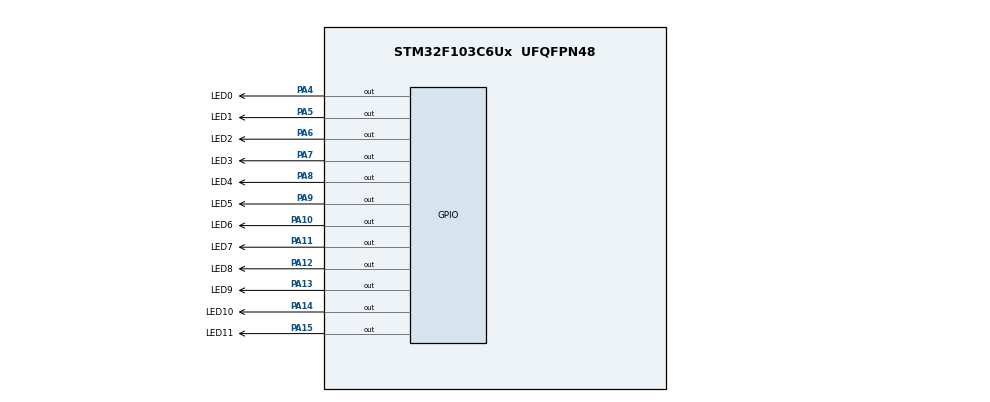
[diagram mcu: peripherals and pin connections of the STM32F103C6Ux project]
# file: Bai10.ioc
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Mcu.Family=STM32F1
Mcu.Name=STM32F103C6Ux
Mcu.Package=UFQFPN48
NVIC.PriorityGroup=NVIC_PRIORITYGROUP_4
PA10.GPIO_Label=LED6
PA10.Signal=GPIO_Output
PA11.GPIO_Label=LED7
PA11.Signal=GPIO_Output
PA12.GPIO_Label=LED8
PA12.Signal=GPIO_Output
PA13.GPIO_Label=LED9
PA13.Signal=GPIO_Output
PA14.GPIO_Label=LED10
PA14.Signal=GPIO_Output
PA15.GPIO_Label=LED11
PA15.Signal=GPIO_Output
PA4.GPIO_Label=LED0
PA4.Signal=GPIO_Output
PA5.GPIO_Label=LED1
PA5.Signal=GPIO_Output
PA6.GPIO_Label=LED2
PA6.Signal=GPIO_Output
PA7.GPIO_Label=LED3
PA7.Signal=GPIO_Output
PA8.GPIO_Label=LED4
PA8.Signal=GPIO_Output
PA9.GPIO_Label=LED5
PA9.Signal=GPIO_Output
ProjectManager.HeapSize=0x200
ProjectManager.StackSize=0x400
ProjectManager.TargetToolchain=STM32CubeIDE
RCC.APB1Freq_Value=8000000
RCC.APB2Freq_Value=8000000
VP_SYS_VS_ND.Mode=No_Debug
board=custom

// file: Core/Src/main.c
/* USER CODE BEGIN Header */
/**
 ******************************************************************************
 * @file           : main.c
 * @brief          : Main program body
 ******************************************************************************
 * @attention
 *
 * <h2><center>&copy; Copyright (c) 2022 STMicroelectronics.
 * All rights reserved.</center></h2>
 *
 * This software component is licensed by ST under BSD 3-Clause license,
 * the "License"; You may not use this file except in compliance with the
 * License. You may obtain a copy of the License at:
 *                        opensource.org/licenses/BSD-3-Clause
 *
 ******************************************************************************
 */
/* USER CODE END Header */
#include "main.h"

void SystemClock_Config(void);
static void MX_GPIO_Init(void);

void clearAllClock();
void setNumberOnClock(int num);
void clearNumberOnClock(int num);

/* USER CODE BEGIN 0 */
void clearAllClock() {
	HAL_GPIO_WritePin(LED0_GPIO_Port, LED0_Pin, RESET);
	HAL_GPIO_WritePin(LED1_GPIO_Port, LED1_Pin, RESET);
	HAL_GPIO_WritePin(LED2_GPIO_Port, LED2_Pin, RESET);
	HAL_GPIO_WritePin(LED3_GPIO_Port, LED3_Pin, RESET);
	HAL_GPIO_WritePin(LED4_GPIO_Port, LED4_Pin, RESET);
	HAL_GPIO_WritePin(LED5_GPIO_Port, LED5_Pin, RESET);
	HAL_GPIO_WritePin(LED6_GPIO_Port, LED6_Pin, RESET);
	HAL_GPIO_WritePin(LED7_GPIO_Port, LED7_Pin, RESET);
	HAL_GPIO_WritePin(LED8_GPIO_Port, LED8_Pin, RESET);
	HAL_GPIO_WritePin(LED9_GPIO_Port, LED9_Pin, RESET);
	HAL_GPIO_WritePin(LED10_GPIO_Port, LED10_Pin, RESET);
	HAL_GPIO_WritePin(LED11_GPIO_Port, LED11_Pin, RESET);
}

void setNumberOnClock(int num) {
	if (num == 0) {
		HAL_GPIO_WritePin(LED0_GPIO_Port, LED0_Pin, SET);
	}
	if (num == 1) {
		HAL_GPIO_WritePin(LED1_GPIO_Port, LED1_Pin, SET);
	}
	if (num == 2) {
		HAL_GPIO_WritePin(LED2_GPIO_Port, LED2_Pin, SET);
	}
	if (num == 3) {
		HAL_GPIO_WritePin(LED3_GPIO_Port, LED3_Pin, SET);
	}
	if (num == 4) {
		HAL_GPIO_WritePin(LED4_GPIO_Port, LED4_Pin, SET);
	}
	if (num == 5) {
		HAL_GPIO_WritePin(LED5_GPIO_Port, LED5_Pin, SET);
	}
	if (num == 6) {
		HAL_GPIO_WritePin(LED6_GPIO_Port, LED6_Pin, SET);
	}
	if (num == 7) {
		HAL_GPIO_WritePin(LED7_GPIO_Port, LED7_Pin, SET);
	}
	if (num == 8) {
		HAL_GPIO_WritePin(LED8_GPIO_Port, LED8_Pin, SET);
	}
	if (num == 9) {
		HAL_GPIO_WritePin(LED9_GPIO_Port, LED9_Pin, SET);
	}
	if (num == 10) {
		HAL_GPIO_WritePin(LED10_GPIO_Port, LED10_Pin, SET);
	}
	if (num == 11) {
		HAL_GPIO_WritePin(LED11_GPIO_Port, LED11_Pin, SET);
	}
}

void clearNumberOnClock(int num) {
	if (num == 0) {
		HAL_GPIO_WritePin(LED0_GPIO_Port, LED0_Pin, RESET);
	}
	if (num == 1) {
		HAL_GPIO_WritePin(LED1_GPIO_Port, LED1_Pin, RESET);
	}
	if (num == 2) {
		HAL_GPIO_WritePin(LED2_GPIO_Port, LED2_Pin, RESET);
	}
	if (num == 3) {
		HAL_GPIO_WritePin(LED3_GPIO_Port, LED3_Pin, RESET);
	}
	if (num == 4) {
		HAL_GPIO_WritePin(LED4_GPIO_Port, LED4_Pin, RESET);
	}
	if (num == 5) {
		HAL_GPIO_WritePin(LED5_GPIO_Port, LED5_Pin, RESET);
	}
	if (num == 6) {
		HAL_GPIO_WritePin(LED6_GPIO_Port, LED6_Pin, RESET);
	}
	if (num == 7) {
		HAL_GPIO_WritePin(LED7_GPIO_Port, LED7_Pin, RESET);
	}
	if (num == 8) {
		HAL_GPIO_WritePin(LED8_GPIO_Port, LED8_Pin, RESET);
	}
	if (num == 9) {
		HAL_GPIO_WritePin(LED9_GPIO_Port, LED9_Pin, RESET);
	}
	if (num == 10) {
		HAL_GPIO_WritePin(LED10_GPIO_Port, LED10_Pin, RESET);
	}
	if (num == 11) {
		HAL_GPIO_WritePin(LED11_GPIO_Port, LED11_Pin, RESET);
	}
}
/* USER CODE END 0 */

int main(void) {

	/* MCU Configuration--------------------------------------------------------*/

	/* Reset of all peripherals, Initializes the Flash interface and the Systick. */
	HAL_Init();

	/* Configure the system clock */
	SystemClock_Config();

	/* Initialize all configured peripherals */
	MX_GPIO_Init();

	/* Infinite loop */
	/* USER CODE BEGIN WHILE */

	int indexOfHourLed = 0;
	int indexOfMinuteLed = 0;
	int indexOfSecondLed = 0;
	int hourCounter = 0;
	int minuteCounter = 0;
	int secondCounter = 0;
	while (1) {
		//Set led for minutes (indexOfMinuteLed)
		if (minuteCounter >= 0 && minuteCounter <= 4) {
			indexOfMinuteLed = 0;
		}
		if (minuteCounter >= 5 && minuteCounter <= 9) {
			indexOfMinuteLed = 1;
		}
		if (minuteCounter >= 10 && minuteCounter <= 14) {
			indexOfMinuteLed = 2;
		}
		if (minuteCounter >= 15 && minuteCounter <= 19) {
			indexOfMinuteLed = 3;
		}
		if (minuteCounter >= 20 && minuteCounter <= 24) {
			indexOfMinuteLed = 4;
		}
		if (minuteCounter >= 25 && minuteCounter <= 29) {
			indexOfMinuteLed = 5;
		}
		if (minuteCounter >= 30 && minuteCounter <= 34) {
			indexOfMinuteLed = 6;
		}
		if (minuteCounter >= 35 && minuteCounter <= 39) {
			indexOfMinuteLed = 7;
		}
		if (minuteCounter >= 40 && minuteCounter <= 44) {
			indexOfMinuteLed = 8;
		}
		if (minuteCounter >= 45 && minuteCounter <= 49) {
			indexOfMinuteLed = 9;
		}
		if (minuteCounter >= 50 && minuteCounter <= 54) {
			indexOfMinuteLed = 10;
		}
		if (minuteCounter >= 55 && minuteCounter <= 59) {
			indexOfMinuteLed = 11;
		}

		//Set led for seconds (indexOfSecondLed)
		if (secondCounter >= 0 && secondCounter <= 4) {
			indexOfSecondLed = 0;
		}
		if (secondCounter >= 5 && secondCounter <= 9) {
			indexOfSecondLed = 1;
		}
		if (secondCounter >= 10 && secondCounter <= 14) {
			indexOfSecondLed = 2;
		}
		if (secondCounter >= 15 && secondCounter <= 19) {
			indexOfSecondLed = 3;
		}
		if (secondCounter >= 20 && secondCounter <= 24) {
			indexOfSecondLed = 4;
		}
		if (secondCounter >= 25 && secondCounter <= 29) {
			indexOfSecondLed = 5;
		}
		if (secondCounter >= 30 && secondCounter <= 34) {
			indexOfSecondLed = 6;
		}
		if (secondCounter >= 35 && secondCounter <= 39) {
			indexOfSecondLed = 7;
		}
		if (secondCounter >= 40 && secondCounter <= 44) {
			indexOfSecondLed = 8;
		}
		if (secondCounter >= 45 && secondCounter <= 49) {
			indexOfSecondLed = 9;
		}
		if (secondCounter >= 50 && secondCounter <= 54) {
			indexOfSecondLed = 10;
		}
		if (secondCounter >= 55 && secondCounter <= 59) {
			indexOfSecondLed = 11;
		}

		//Led display settings
		clearAllClock(); //Turn off all lights

		//Case 1: led of hours is the same as led of minutes
		if (indexOfHourLed == indexOfMinuteLed) {
			//Case 1.1: led of hours is the same as led of seconds
			if (indexOfHourLed == indexOfSecondLed) {
				setNumberOnClock(indexOfHourLed);
			}
			//Case 1.2: led of hours is different from led of seconds
			if (indexOfHourLed != indexOfSecondLed) {
				setNumberOnClock(indexOfHourLed);
				setNumberOnClock(indexOfSecondLed);
			}
		}

		//Case 2: led of hours is different from led of minutes
		if (indexOfHourLed != indexOfMinuteLed) {
			//Case 2.1: led of hours is the same as led of seconds
			if (indexOfHourLed == indexOfSecondLed) {
				setNumberOnClock(indexOfHourLed);
				setNumberOnClock(indexOfMinuteLed);
			}
			//Case 2.2: led of hours is different from led of seconds
			if (indexOfHourLed != indexOfSecondLed) {
				//Case 2.2.1: led of minutes is the same as led of seconds
				if (indexOfMinuteLed == indexOfSecondLed) {
					setNumberOnClock(indexOfHourLed);
					setNumberOnClock(indexOfMinuteLed);
				}
				//Case 2.2.2: led of minutes is different from led of seconds
				if (indexOfMinuteLed != indexOfSecondLed) {
					setNumberOnClock(indexOfHourLed);
					setNumberOnClock(indexOfMinuteLed);
					setNumberOnClock(indexOfSecondLed);
				}
			}
		}

		//Timer setting
		if (secondCounter == 59) {		//if seconds = 59
			if (minuteCounter == 59) {	//if minutes = 59
				if (hourCounter == 11) {	//if hours = 11
					hourCounter = 0;
					minuteCounter = 0;
					secondCounter = -1;
				}
				hourCounter++;
				minuteCounter = 0;
				secondCounter = -1;
			}
			minuteCounter++;
			secondCounter = -1;
		}
		secondCounter++;
		HAL_Delay(1000);
		/* USER CODE END WHILE */

	}
}

void SystemClock_Config(void) {
	RCC_OscInitTypeDef RCC_OscInitStruct = { 0 };
	RCC_ClkInitTypeDef RCC_ClkInitStruct = { 0 };

	/** Initializes the RCC Oscillators according to the specified parameters
	 * in the RCC_OscInitTypeDef structure.
	 */
	RCC_OscInitStruct.OscillatorType = RCC_OSCILLATORTYPE_HSI;
	RCC_OscInitStruct.HSIState = RCC_HSI_ON;
	RCC_OscInitStruct.HSICalibrationValue = RCC_HSICALIBRATION_DEFAULT;
	RCC_OscInitStruct.PLL.PLLState = RCC_PLL_NONE;
	if (HAL_RCC_OscConfig(&RCC_OscInitStruct) != HAL_OK) {
		Error_Handler();
	}
	/** Initializes the CPU, AHB and APB buses clocks
	 */
	RCC_ClkInitStruct.ClockType = RCC_CLOCKTYPE_HCLK | RCC_CLOCKTYPE_SYSCLK
			| RCC_CLOCKTYPE_PCLK1 | RCC_CLOCKTYPE_PCLK2;
	RCC_ClkInitStruct.SYSCLKSource = RCC_SYSCLKSOURCE_HSI;
	RCC_ClkInitStruct.AHBCLKDivider = RCC_SYSCLK_DIV1;
	RCC_ClkInitStruct.APB1CLKDivider = RCC_HCLK_DIV1;
	RCC_ClkInitStruct.APB2CLKDivider = RCC_HCLK_DIV1;

	if (HAL_RCC_ClockConfig(&RCC_ClkInitStruct, FLASH_LATENCY_0) != HAL_OK) {
		Error_Handler();
	}
}

static void MX_GPIO_Init(void) {
	GPIO_InitTypeDef GPIO_InitStruct = { 0 };

	/* GPIO Ports Clock Enable */
	__HAL_RCC_GPIOA_CLK_ENABLE();

	/*Configure GPIO pin Output Level */
	HAL_GPIO_WritePin(GPIOA,
			LED0_Pin | LED1_Pin | LED2_Pin | LED3_Pin | LED4_Pin | LED5_Pin
					| LED6_Pin | LED7_Pin | LED8_Pin | LED9_Pin | LED10_Pin
					| LED11_Pin, GPIO_PIN_RESET);

	/*Configure GPIO pins : LED0_Pin LED1_Pin LED2_Pin LED3_Pin
	 LED4_Pin LED5_Pin LED6_Pin LED7_Pin
	 LED8_Pin LED9_Pin LED10_Pin LED11_Pin */
	GPIO_InitStruct.Pin = LED0_Pin | LED1_Pin | LED2_Pin | LED3_Pin | LED4_Pin
			| LED5_Pin | LED6_Pin | LED7_Pin | LED8_Pin | LED9_Pin | LED10_Pin
			| LED11_Pin;
	GPIO_InitStruct.Mode = GPIO_MODE_OUTPUT_PP;
	GPIO_InitStruct.Pull = GPIO_NOPULL;
	GPIO_InitStruct.Speed = GPIO_SPEED_FREQ_LOW;
	HAL_GPIO_Init(GPIOA, &GPIO_InitStruct);

}

void Error_Handler(void) {
	__disable_irq();
	while (1) {
	}
}

/************************ (C) COPYRIGHT STMicroelectronics *****END OF FILE****/
